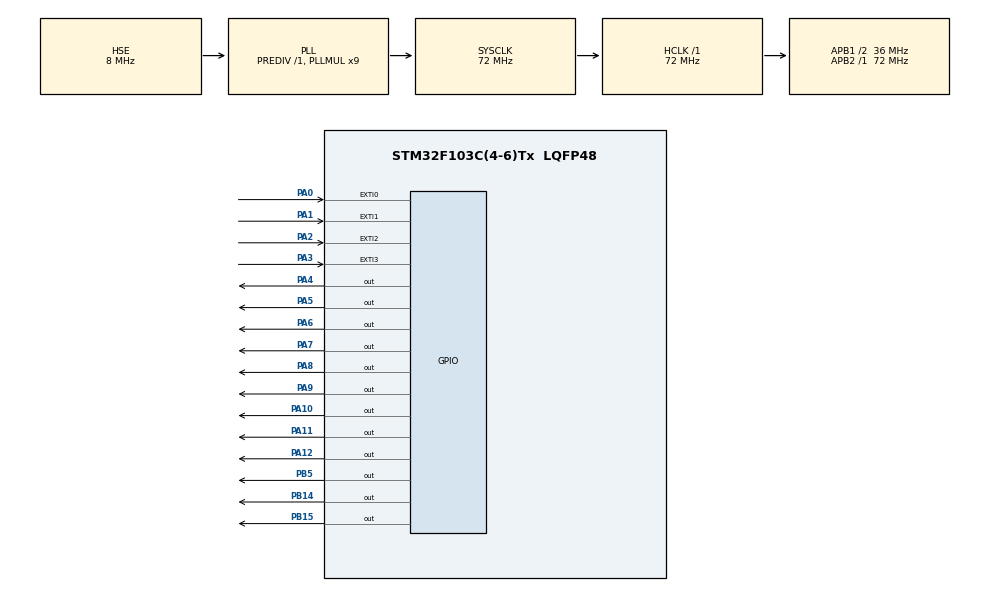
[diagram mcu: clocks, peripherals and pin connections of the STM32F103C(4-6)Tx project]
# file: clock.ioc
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Mcu.Family=STM32F1
Mcu.Name=STM32F103C(4-6)Tx
Mcu.Package=LQFP48
NVIC.PriorityGroup=NVIC_PRIORITYGROUP_4
PA0-WKUP.Signal=GPXTI0
PA1.Signal=GPXTI1
PA10.Signal=GPIO_Output
PA11.Signal=GPIO_Output
PA12.Signal=GPIO_Output
PA13.Mode=Serial_Wire
PA13.Signal=SYS_JTMS-SWDIO
PA14.Mode=Serial_Wire
PA14.Signal=SYS_JTCK-SWCLK
PA2.Signal=GPXTI2
PA3.Signal=GPXTI3
PA4.Signal=GPIO_Output
PA5.Signal=GPIO_Output
PA6.Signal=GPIO_Output
PA7.Signal=GPIO_Output
PA8.Signal=GPIO_Output
PA9.Signal=GPIO_Output
PB14.Signal=GPIO_Output
PB15.Signal=GPIO_Output
PB5.Signal=GPIO_Output
PD0-OSC_IN.Mode=HSE-External-Oscillator
PD0-OSC_IN.Signal=RCC_OSC_IN
PD1-OSC_OUT.Mode=HSE-External-Oscillator
PD1-OSC_OUT.Signal=RCC_OSC_OUT
ProjectManager.HeapSize=0x200
ProjectManager.StackSize=0x400
ProjectManager.TargetToolchain=CMake
RCC.AHBFreq_Value=72000000
RCC.APB1CLKDivider=RCC_HCLK_DIV2
RCC.APB1Freq_Value=36000000
RCC.APB1TimFreq_Value=72000000
RCC.APB2Freq_Value=72000000
RCC.APB2TimFreq_Value=72000000
RCC.HCLKFreq_Value=72000000
RCC.PLLMUL=RCC_PLL_MUL9
RCC.PLLSourceVirtual=RCC_PLLSOURCE_HSE
RCC.SYSCLKFreq_VALUE=72000000
RCC.SYSCLKSource=RCC_SYSCLKSOURCE_PLLCLK
RCC.USBFreq_Value=72000000
RTC.OutPut=RTC_OUTPUTSOURCE_ALARM
TIM2.Prescaler=71
VP_RTC_VS_RTC_Activate.Mode=RTC_Enabled
VP_RTC_VS_RTC_Calendar.Mode=RTC_Calendar
VP_TIM2_VS_ClockSourceINT.Mode=Internal
board=custom

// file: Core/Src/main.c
/* USER CODE BEGIN Header */
/**
  ******************************************************************************
  * @file           : main.c
  * @brief          : Main program body
  ******************************************************************************
  * @attention
  *
  * Copyright (c) 2025 STMicroelectronics.
  * All rights reserved.
  *
  * This software is licensed under terms that can be found in the LICENSE file
  * in the root directory of this software component.
  * If no LICENSE file comes with this software, it is provided AS-IS.
  *
  ******************************************************************************
  */
/* USER CODE END Header */
#include "main.h"

/* USER CODE BEGIN Includes */

#include "buffer.h"
#include "stm32f1xx_hal_gpio.h"
#include "stm32f1xx_hal_tim.h"
#include "LCD1602.h"
#include <sys/types.h>
#include <stdio.h>
#include <stdint.h>
#include "keypad.h"
#include "stringer.h"
#include "clock.h"
/* USER CODE END Includes */

RTC_HandleTypeDef hrtc;

TIM_HandleTypeDef htim2;

/* USER CODE BEGIN PV */
int keypressed = 0;
uint16_t colpin;
extern char buffer[100];
extern char key;
char time[100];
char date[100];

// Alarm variables
uint8_t alarm_enabled = 0;
uint8_t alarm_hour = 0;
uint8_t alarm_minute = 0;
uint8_t alarm_second = 0;
uint8_t alarm_triggered = 0;

// Timer variables
uint8_t timer_enabled = 0;
uint32_t timer_seconds = 0;
uint32_t timer_remaining = 0;
uint8_t timer_start_hour = 0;
uint8_t timer_start_minute = 0;
uint8_t timer_start_second = 0;

// Buzzer pin
#define BUZZER_PIN GPIO_PIN_5
#define BUZZER_PORT GPIOB
/* USER CODE END PV */

void SystemClock_Config(void);
static void MX_GPIO_Init(void);
static void MX_TIM2_Init(void);
static void MX_RTC_Init(void);
/* USER CODE BEGIN PFP */

// Helper functions for keypad input
void collect_keypad_input(char* buffer, uint8_t length, const char* prompt, const char* format);
void display_formatted_input(char* buffer, uint8_t current_idx, uint8_t total_length, const char* format);
void handle_time_setting(void);
void handle_date_setting(void);
void handle_alarm_setting(void);
void handle_timer_setting(void);
void check_alarm(void);
void update_timer(void);
void display_timer(void);
void buzzer_on(void);
void buzzer_off(void);

/* USER CODE END PFP */

/* USER CODE BEGIN 0 */

/**
  * Clock Settings Interface:
  * - Press '#' to set time (format: HHMMSS)
  * - Press '*' to set date (format: DDMMYYWW where WW is day of week 1-7)
  * - Display shows real-time input with formatting
  * - Validates input ranges before setting RTC
  */

/* USER CODE END 0 */

int main(void)
{

  /* MCU Configuration--------------------------------------------------------*/

  /* Reset of all peripherals, Initializes the Flash interface and the Systick. */
  HAL_Init();

  /* Configure the system clock */
  SystemClock_Config();

  /* Initialize all configured peripherals */
  MX_GPIO_Init();
  MX_TIM2_Init();
  MX_RTC_Init();
  /* USER CODE BEGIN 2 */

  HAL_TIM_Base_Start(&htim2);
  lcd_init();
  lcd_clear();
  lcd_put_cur(0, 0);
  lcd_send_string("hello");
  HAL_Delay(3000);
  lcd_clear();
  HAL_GPIO_WritePin(GPIOA, GPIO_PIN_4|GPIO_PIN_5|GPIO_PIN_6|GPIO_PIN_7, GPIO_PIN_SET);

  /* USER CODE END 2 */

  /* Infinite loop */
  while (1)
  {

    /* USER CODE BEGIN 3 */
    get_time_date(time, date);

    // Display date on row 0 left (first 8 chars)
    lcd_put_cur(0, 0);
    char date_short[9];
    snprintf(date_short, 9, "%.8s", date);
    lcd_send_string(date_short);

    // Display time on row 1 left (first 8 chars)
    lcd_put_cur(1, 0);
    lcd_send_string(time);

    // Display alarm if set (row 0 right)
    if(alarm_enabled) {
      lcd_put_cur(0, 9);
      char alarm_str[9];
      snprintf(alarm_str, 9, "A:%02d:%02d", alarm_hour, alarm_minute);
      lcd_send_string(alarm_str);
    } else {
      lcd_put_cur(0, 8);
      lcd_send_string("        ");
    }

    // Display timer if set (row 1 right)
    if(timer_enabled && timer_remaining > 0) {
      display_timer();
    } else if(!timer_enabled) {
      lcd_put_cur(1, 8);
      lcd_send_string("        ");
    }

    if(keypressed == 1){
      scanKeypad(colpin);
      keypressed = 0;
    }

    // Time setting mode
    if(key == '#'){
      handle_time_setting();
    }

    // Date setting mode
    if(key == '*'){
      handle_date_setting();
    }

    // Alarm setting mode
    if(key == 'A'){
      handle_alarm_setting();
    }

    // Timer setting mode
    if(key == 'B'){
      handle_timer_setting();
    }

    // Check alarm
    if(alarm_enabled){
      check_alarm();
    }

    // Update timer
    if(timer_enabled){
      update_timer();
      display_timer();
    }

  }
  /* USER CODE END 3 */
}

void SystemClock_Config(void)
{
  RCC_OscInitTypeDef RCC_OscInitStruct = {0};
  RCC_ClkInitTypeDef RCC_ClkInitStruct = {0};
  RCC_PeriphCLKInitTypeDef PeriphClkInit = {0};

  /** Initializes the RCC Oscillators according to the specified parameters
  * in the RCC_OscInitTypeDef structure.
  */
  RCC_OscInitStruct.OscillatorType = RCC_OSCILLATORTYPE_LSI|RCC_OSCILLATORTYPE_HSE;
  RCC_OscInitStruct.HSEState = RCC_HSE_ON;
  RCC_OscInitStruct.HSEPredivValue = RCC_HSE_PREDIV_DIV1;
  RCC_OscInitStruct.HSIState = RCC_HSI_ON;
  RCC_OscInitStruct.LSIState = RCC_LSI_ON;
  RCC_OscInitStruct.PLL.PLLState = RCC_PLL_ON;
  RCC_OscInitStruct.PLL.PLLSource = RCC_PLLSOURCE_HSE;
  RCC_OscInitStruct.PLL.PLLMUL = RCC_PLL_MUL9;
  if (HAL_RCC_OscConfig(&RCC_OscInitStruct) != HAL_OK)
  {
    Error_Handler();
  }

  /** Initializes the CPU, AHB and APB buses clocks
  */
  RCC_ClkInitStruct.ClockType = RCC_CLOCKTYPE_HCLK|RCC_CLOCKTYPE_SYSCLK
                              |RCC_CLOCKTYPE_PCLK1|RCC_CLOCKTYPE_PCLK2;
  RCC_ClkInitStruct.SYSCLKSource = RCC_SYSCLKSOURCE_PLLCLK;
  RCC_ClkInitStruct.AHBCLKDivider = RCC_SYSCLK_DIV1;
  RCC_ClkInitStruct.APB1CLKDivider = RCC_HCLK_DIV2;
  RCC_ClkInitStruct.APB2CLKDivider = RCC_HCLK_DIV1;

  if (HAL_RCC_ClockConfig(&RCC_ClkInitStruct, FLASH_LATENCY_2) != HAL_OK)
  {
    Error_Handler();
  }
  PeriphClkInit.PeriphClockSelection = RCC_PERIPHCLK_RTC;
  PeriphClkInit.RTCClockSelection = RCC_RTCCLKSOURCE_LSI;
  if (HAL_RCCEx_PeriphCLKConfig(&PeriphClkInit) != HAL_OK)
  {
    Error_Handler();
  }
}

static void MX_RTC_Init(void)
{

  RTC_TimeTypeDef sTime = {0};
  RTC_DateTypeDef DateToUpdate = {0};

  /** Initialize RTC Only
  */
  hrtc.Instance = RTC;
  hrtc.Init.AsynchPrediv = RTC_AUTO_1_SECOND;
  hrtc.Init.OutPut = RTC_OUTPUTSOURCE_ALARM;
  if (HAL_RTC_Init(&hrtc) != HAL_OK)
  {
    Error_Handler();
  }

  /** Initialize RTC and set the Time and Date
  */
  sTime.Hours = 0x0;
  sTime.Minutes = 0x0;
  sTime.Seconds = 0x0;

  if (HAL_RTC_SetTime(&hrtc, &sTime, RTC_FORMAT_BCD) != HAL_OK)
  {
    Error_Handler();
  }
  DateToUpdate.WeekDay = RTC_WEEKDAY_MONDAY;
  DateToUpdate.Month = RTC_MONTH_JANUARY;
  DateToUpdate.Date = 0x1;
  DateToUpdate.Year = 0x0;

  if (HAL_RTC_SetDate(&hrtc, &DateToUpdate, RTC_FORMAT_BCD) != HAL_OK)
  {
    Error_Handler();
  }

}

static void MX_TIM2_Init(void)
{

  TIM_ClockConfigTypeDef sClockSourceConfig = {0};
  TIM_MasterConfigTypeDef sMasterConfig = {0};

  htim2.Instance = TIM2;
  htim2.Init.Prescaler = 71;
  htim2.Init.CounterMode = TIM_COUNTERMODE_UP;
  htim2.Init.Period = 65535;
  htim2.Init.ClockDivision = TIM_CLOCKDIVISION_DIV1;
  htim2.Init.AutoReloadPreload = TIM_AUTORELOAD_PRELOAD_DISABLE;
  if (HAL_TIM_Base_Init(&htim2) != HAL_OK)
  {
    Error_Handler();
  }
  sClockSourceConfig.ClockSource = TIM_CLOCKSOURCE_INTERNAL;
  if (HAL_TIM_ConfigClockSource(&htim2, &sClockSourceConfig) != HAL_OK)
  {
    Error_Handler();
  }
  sMasterConfig.MasterOutputTrigger = TIM_TRGO_RESET;
  sMasterConfig.MasterSlaveMode = TIM_MASTERSLAVEMODE_DISABLE;
  if (HAL_TIMEx_MasterConfigSynchronization(&htim2, &sMasterConfig) != HAL_OK)
  {
    Error_Handler();
  }

}

static void MX_GPIO_Init(void)
{
  GPIO_InitTypeDef GPIO_InitStruct = {0};

  /* GPIO Ports Clock Enable */
  __HAL_RCC_GPIOD_CLK_ENABLE();
  __HAL_RCC_GPIOA_CLK_ENABLE();
  __HAL_RCC_GPIOB_CLK_ENABLE();

  /*Configure GPIO pin Output Level */
  HAL_GPIO_WritePin(GPIOA, GPIO_PIN_4|GPIO_PIN_5|GPIO_PIN_6|GPIO_PIN_7
                          |GPIO_PIN_8|GPIO_PIN_9|GPIO_PIN_10|GPIO_PIN_11
                          |GPIO_PIN_12, GPIO_PIN_RESET);

  /*Configure GPIO pin Output Level */
  HAL_GPIO_WritePin(GPIOB, GPIO_PIN_14|GPIO_PIN_15|GPIO_PIN_5, GPIO_PIN_RESET);

  /*Configure GPIO pins : PA0 PA1 PA2 PA3 */
  GPIO_InitStruct.Pin = GPIO_PIN_0|GPIO_PIN_1|GPIO_PIN_2|GPIO_PIN_3;
  GPIO_InitStruct.Mode = GPIO_MODE_IT_RISING;
  GPIO_InitStruct.Pull = GPIO_NOPULL;
  HAL_GPIO_Init(GPIOA, &GPIO_InitStruct);

  /*Configure GPIO pins : PA4 PA5 PA6 PA7
                           PA8 PA9 PA10 PA11
                           PA12 */
  GPIO_InitStruct.Pin = GPIO_PIN_4|GPIO_PIN_5|GPIO_PIN_6|GPIO_PIN_7
                          |GPIO_PIN_8|GPIO_PIN_9|GPIO_PIN_10|GPIO_PIN_11
                          |GPIO_PIN_12;
  GPIO_InitStruct.Mode = GPIO_MODE_OUTPUT_PP;
  GPIO_InitStruct.Pull = GPIO_NOPULL;
  GPIO_InitStruct.Speed = GPIO_SPEED_FREQ_LOW;
  HAL_GPIO_Init(GPIOA, &GPIO_InitStruct);

  /*Configure GPIO pins : PB14 PB15 PB5 */
  GPIO_InitStruct.Pin = GPIO_PIN_14|GPIO_PIN_15|GPIO_PIN_5;
  GPIO_InitStruct.Mode = GPIO_MODE_OUTPUT_PP;
  GPIO_InitStruct.Pull = GPIO_NOPULL;
  GPIO_InitStruct.Speed = GPIO_SPEED_FREQ_LOW;
  HAL_GPIO_Init(GPIOB, &GPIO_InitStruct);

  /* USER CODE BEGIN MX_GPIO_Init_2 */
  HAL_NVIC_SetPriority(EXTI0_IRQn, 2, 0);
  HAL_NVIC_EnableIRQ(EXTI0_IRQn);
  HAL_NVIC_SetPriority(EXTI1_IRQn, 2, 0);
  HAL_NVIC_EnableIRQ(EXTI1_IRQn);
  HAL_NVIC_SetPriority(EXTI2_IRQn, 2, 0);
  HAL_NVIC_EnableIRQ(EXTI2_IRQn);
  HAL_NVIC_SetPriority(EXTI3_IRQn, 2, 0);
  HAL_NVIC_EnableIRQ(EXTI3_IRQn);

  /* USER CODE END MX_GPIO_Init_2 */
}

/* USER CODE BEGIN 4 */

/**
  * @brief Collect keypad input with dynamic display
  */
void collect_keypad_input(char* buffer, uint8_t length, const char* prompt, const char* format)
{
  uint8_t input_idx = 0;
  key = '\0';

  lcd_clear();
  lcd_put_cur(0, 0);
  lcd_send_string((char*)prompt);
  HAL_Delay(1500);

  lcd_clear();
  lcd_put_cur(0, 0);
  lcd_send_string((char*)format);
  lcd_put_cur(1, 0);

  while(input_idx < length) {
    if(keypressed == 1) {
      scanKeypad(colpin);
      keypressed = 0;

      if(key >= '0' && key <= '9') {
        buffer[input_idx] = key;
        display_formatted_input(buffer, input_idx, length, format);
        input_idx++;
        key = '\0';
      }
    }
    HAL_Delay(50);
  }
}

/**
  * @brief Display formatted input on LCD
  */
void display_formatted_input(char* buffer, uint8_t current_idx, uint8_t total_length, const char* format)
{
  char display[17];
  uint8_t buf_idx = 0;
  uint8_t disp_idx = 0;

  // Build display string with formatting characters
  for(uint8_t i = 0; format[i] != '\0' && disp_idx < 16; i++) {
    if(format[i] >= '0' && format[i] <= '9') {
      // This is a placeholder position
      if(buf_idx <= current_idx) {
        display[disp_idx++] = buffer[buf_idx];
      } else {
        display[disp_idx++] = '_';
      }
      buf_idx++;
    } else {
      // This is a formatting character
      display[disp_idx++] = format[i];
    }
  }
  display[disp_idx] = '\0';

  lcd_put_cur(1, 0);
  lcd_send_string(display);
}

/**
  * @brief Handle time setting via keypad
  */
void handle_time_setting(void)
{
  char time_input[7] = {0};
  uint8_t hours, minutes, seconds;

  collect_keypad_input(time_input, 6, "Set Time:", "00:00:00");

  // Parse time
  hours = (time_input[0] - '0') * 10 + (time_input[1] - '0');
  minutes = (time_input[2] - '0') * 10 + (time_input[3] - '0');
  seconds = (time_input[4] - '0') * 10 + (time_input[5] - '0');

  // Validate and set
  if(hours < 24 && minutes < 60 && seconds < 60) {
    set_time(hours, minutes, seconds);
    lcd_clear();
    lcd_send_string("Time Set!");
    HAL_Delay(1500);
  } else {
    lcd_clear();
    lcd_send_string("Invalid Time!");
    HAL_Delay(1500);
  }

  lcd_clear();
  key = '\0';
}

/**
  * @brief Handle date setting via keypad
  */
void handle_date_setting(void)
{
  char date_input[9] = {0};
  uint8_t day, month, year;

  collect_keypad_input(date_input, 8, "Set Date:", "00-00-00");

  // Parse date (DD-MM-YY format)
  day = (date_input[0] - '0') * 10 + (date_input[1] - '0');
  month = (date_input[2] - '0') * 10 + (date_input[3] - '0');
  year = (date_input[4] - '0') * 10 + (date_input[5] - '0');

  // Get day of week (simplified - you can enhance this)
  uint8_t weekday = (date_input[6] - '0') * 10 + (date_input[7] - '0');
  if(weekday < 1) weekday = 1;
  if(weekday > 7) weekday = 7;

  // Validate and set
  if(day >= 1 && day <= 31 && month >= 1 && month <= 12 && year <= 99) {
    set_date(year, month, day, weekday);
    lcd_clear();
    lcd_send_string("Date Set!");
    HAL_Delay(1500);
  } else {
    lcd_clear();
    lcd_send_string("Invalid Date!");
    HAL_Delay(1500);
  }

  lcd_clear();
  key = '\0';
}

/**
  * @brief Handle alarm setting via keypad
  */
void handle_alarm_setting(void)
{
  char alarm_input[7] = {0};
  uint8_t hours, minutes, seconds;

  collect_keypad_input(alarm_input, 6, "Set Alarm:", "00:00:00");

  // Parse alarm time
  hours = (alarm_input[0] - '0') * 10 + (alarm_input[1] - '0');
  minutes = (alarm_input[2] - '0') * 10 + (alarm_input[3] - '0');
  seconds = (alarm_input[4] - '0') * 10 + (alarm_input[5] - '0');

  // Validate and set
  if(hours < 24 && minutes < 60 && seconds < 60) {
    alarm_hour = hours;
    alarm_minute = minutes;
    alarm_second = seconds;
    alarm_enabled = 1;
    alarm_triggered = 0;

    lcd_clear();
    lcd_send_string("Alarm Set!");
    HAL_Delay(1500);
  } else {
    lcd_clear();
    lcd_send_string("Invalid Alarm!");
    HAL_Delay(1500);
  }

  lcd_clear();
  key = '\0';
}

/**
  * @brief Handle timer setting via keypad
  */
void handle_timer_setting(void)
{
  char timer_input[7] = {0};
  uint8_t hours, minutes, seconds;

  collect_keypad_input(timer_input, 6, "Set Timer:", "00:00:00");

  // Parse timer duration
  hours = (timer_input[0] - '0') * 10 + (timer_input[1] - '0');
  minutes = (timer_input[2] - '0') * 10 + (timer_input[3] - '0');
  seconds = (timer_input[4] - '0') * 10 + (timer_input[5] - '0');

  // Validate and set
  if(hours < 24 && minutes < 60 && seconds < 60) {
    timer_seconds = hours * 3600 + minutes * 60 + seconds;
    timer_remaining = timer_seconds;
    timer_enabled = (timer_seconds > 0) ? 1 : 0;

    // Save current RTC time as timer start time
    RTC_TimeTypeDef gTime;
    HAL_RTC_GetTime(&hrtc, &gTime, RTC_FORMAT_BIN);
    timer_start_hour = gTime.Hours;
    timer_start_minute = gTime.Minutes;
    timer_start_second = gTime.Seconds;

    lcd_clear();
    lcd_send_string("Timer Set!");
    HAL_Delay(1500);
  } else {
    lcd_clear();
    lcd_send_string("Invalid Timer!");
    HAL_Delay(1500);
  }

  lcd_clear();
  key = '\0';
}

/**
  * @brief Check if alarm time matches current time
  */
void check_alarm(void)
{
  RTC_TimeTypeDef gTime;
  HAL_RTC_GetTime(&hrtc, &gTime, RTC_FORMAT_BIN);

  if(!alarm_triggered &&
     gTime.Hours == alarm_hour &&
     gTime.Minutes == alarm_minute &&
     gTime.Seconds == alarm_second) {
    alarm_triggered = 1;
    buzzer_on();

    // Keep buzzer on for 5 seconds
    HAL_Delay(5000);
    buzzer_off();

    // Disable alarm after triggering
    alarm_enabled = 0;
  }
}

/**
  * @brief Update timer countdown
  */
void update_timer(void)
{
  // Get current RTC time
  RTC_TimeTypeDef gTime;
  HAL_RTC_GetTime(&hrtc, &gTime, RTC_FORMAT_BIN);

  // Calculate elapsed seconds since timer started
  uint32_t current_total_seconds = gTime.Hours * 3600 + gTime.Minutes * 60 + gTime.Seconds;
  uint32_t start_total_seconds = timer_start_hour * 3600 + timer_start_minute * 60 + timer_start_second;
  uint32_t elapsed_seconds;

  // Handle day rollover
  if(current_total_seconds >= start_total_seconds) {
    elapsed_seconds = current_total_seconds - start_total_seconds;
  } else {
    // Day rolled over (past midnight)
    elapsed_seconds = (86400 - start_total_seconds) + current_total_seconds;
  }

  // Calculate remaining time
  if(elapsed_seconds >= timer_seconds) {
    // Timer finished
    timer_enabled = 0;
    timer_remaining = 0;
    buzzer_on();
    HAL_Delay(5000);
    buzzer_off();
  } else {
    timer_remaining = timer_seconds - elapsed_seconds;
  }
}

/**
  * @brief Display timer at row 1 right corner
  */
void display_timer(void)
{
  if(timer_enabled && timer_remaining > 0) {
    uint8_t hrs = timer_remaining / 3600;
    uint8_t mins = (timer_remaining % 3600) / 60;
    uint8_t secs = timer_remaining % 60;

    char timer_str[9];
    if(hrs > 0) {
      snprintf(timer_str, 9, "%02d:%02d:%02d", hrs, mins, secs);
    } else {
      snprintf(timer_str, 9, "  %02d:%02d", mins, secs);
    }

    lcd_put_cur(1, 8);
    lcd_send_string(timer_str);
  }
}

/**
  * @brief Turn buzzer on
  */
void buzzer_on(void)
{
  HAL_GPIO_WritePin(BUZZER_PORT, BUZZER_PIN, GPIO_PIN_SET);
}

/**
  * @brief Turn buzzer off
  */
void buzzer_off(void)
{
  HAL_GPIO_WritePin(BUZZER_PORT, BUZZER_PIN, GPIO_PIN_RESET);
}

/**
  * @brief EXTI line detection callbacks
  * @param GPIO_Pin: Specifies the pins connected to EXTI line
  * Empty handlers for PA0..PA3. Add user code if needed.
  */

void HAL_GPIO_EXTI_Callback(uint16_t GPIO_Pin)
{
  keypressed = 1;
  colpin = GPIO_Pin;

}

/* USER CODE END 4 */

void Error_Handler(void)
{
  __disable_irq();
  while (1)
  {
  }
}
